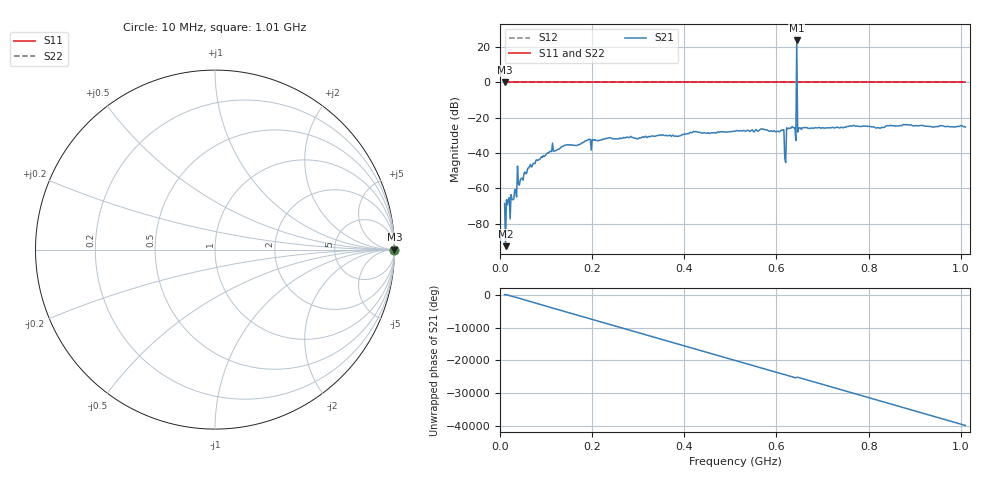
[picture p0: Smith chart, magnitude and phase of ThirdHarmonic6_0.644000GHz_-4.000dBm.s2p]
! 8/15/2025 9:19:29 PM
! C:\ANRITSUVNA\TEMP\TEMP.S2P
! CHANNEL.1
! TR.MEASUREMENT
! RAW.DATA
! RF.CORRECTION.OFF
! AVERAGING.OFF
! IF.BANDWIDTH: 5KHZ
! SWEEPTYPE:  FREQ.SWEEP(Linear)
! Reference Plane Port Info
! PORT:  PORT1  PORT2
! DISTANCE:  0  m  0  m
! TIME:  0  s  0  s
! PHASE.OFFSET:  0  deg.  0  deg.
! LOSS:  0  dB  0  dB
! REF.LOSS:  0  dB  0  dB
! REF.FREQ:  0  Hz  0  Hz
! Power Info
! POWER:  -20  dBm  -20  dBm
! EFF.POWER:  -20  dBm  -20  dBm
! SOURCE.ATTEN:  0  dB  0  dB
! TEST.ATTEN:  0  dB  0  dB
# GHZ S RI R 50.0
! FREQ.GHZ  S11RE  S11IM  S21RE  S21IM  S12RE  S12IM  S22RE  S22IM
!; PortSelection: Port_12
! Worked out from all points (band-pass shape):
!   501 points, 10 MHz to 1.01 GHz, reference 50 ohm
!   highest |S21| = 23.57 dB at 644 MHz (marker M1); lowest = -92.7 dB at 12 MHz (marker M2)
!   |S21| within 3 dB of the highest: 643.894 MHz to 644.1159 MHz (221.9 kHz wide, 0.0345 % of centre)
!   lowest |S11| = 0.0 dB at 10 MHz (marker M3)
!   |S11| at or under -10 dB: nowhere
!   |S22| runs from 0.0 to 0.0 dB; largest |S21 - S12| = 15
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0.01  1 0  0.00034 0.000154  1 0  1 0
0.012  1 0  1.72e-05 -1.57e-05  1 0  1 0
0.026  1 0  -0.000406 -0.000274  1 0  1 0
0.042  1 0  0.00104 -0.000661  1 0  1 0
0.046  1 0  -0.0016 0.00105  1 0  1 0
0.076  1 0  0.00498 3.23e-05  1 0  1 0
0.11  1 0  0.00607 0.00929  1 0  1 0
0.178  1 0  -0.0191 -0.00399  1 0  1 0
0.344  1 0  0.03 -0.00869  1 0  1 0
0.51  1 0  -0.0382 0.0159  1 0  1 0
0.612  1 0  0.0404 0.0171  1 0  1 0
0.616  1 0  -0.0343 -0.0295  1 0  1 0
0.622  1 0  0.0485 -0.0166  1 0  1 0
0.626  1 0  -0.0504 0.00274  1 0  1 0
0.638  1 0  0.0313 0.0413  1 0  1 0
0.64  1 0  0.0459 -0.0252  1 0  1 0
0.644  1 0  8.93 12.15  1 0  1 0
0.648  1 0  0.0514 0.00644  1 0  1 0
0.65  1 0  0.0135 -0.049  1 0  1 0
0.678  1 0  -0.0264 -0.0433  1 0  1 0
0.844  1 0  0.0457 0.0374  1 0  1 0
1.01  1 0  -0.0534 -0.00816  1 0  1 0
